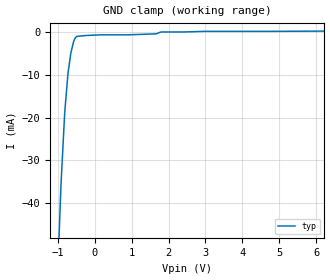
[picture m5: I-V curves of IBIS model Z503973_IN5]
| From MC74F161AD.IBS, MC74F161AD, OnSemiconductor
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| (C) COPYRIGHT 1993-2000
| MENTOR GRAPHICS CORPORATION
| ICX STANDARD LIBRARY, ICX PROJECT MODELING,
| ICX CUSTOM MODELING, ICX VENDOR MODEL
| ALL RIGHTS RESERVED.
| THE FOLLOWING ARE TRADEMARKS OR SERVICE MARKS OF
| MENTOR GRAPHICS CORPORATION:ICX (R), ICX STANDARD
| LIBRARY(R), ICX PROJECT MODELING(R), ICX CUSTOM
| MODELING(R), qualityIBIS(TM), MODELVIEWER(TM),
| AND MODELEDITOR(TM)
| ALL COPIES OF SOFTWARE, INCLUDING BUT NOT LIMITED TO
| ANY MODIFICATIONS, ENHANCEMENTS OR DERIVATIVE WORKS,
| MUST CONTAIN ALL MENTOR GRAPHICS CORPORATION'S
| NOTICES AND LEGENDS, INCLUDING THOSE EMBEDDED IN
| SOFTWARE AND THOSE AFFIXED TO SOFTWARE MEDIUM
| AND CONTAINER, AS RECEIVED FROM MENTOR GRAPHICS
| CORPORATION.
| Model Application Version 1.89 2/18/99.
[Model] Z503973_IN5
Model_type Input
Vinl = 800.0mV
Vinh = 2.000V
C_comp 4.000pF NA NA
| variable typ   min   max
[Voltage Range] 5.000V NA NA
[GND Clamp Reference] 0.000V NA NA
[POWER Clamp Reference] 5.000V NA NA
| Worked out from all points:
|   GND clamp passes 1 mA (typ) near -0.50 V on its own axis
[GND Clamp]
-5V       -1.948A    NA         NA
-1.006V   -58.27mA   NA         NA
-910.5mV  -35.78mA   NA         NA
-809.8mV  -18.86mA   NA         NA
-721.9mV  -9.664mA   NA         NA
-644mV    -4.85mA    NA         NA
-568mV    -2.126mA   NA         NA
-531.4mV  -1.361mA   NA         NA
-487.9mV  -926.5uA   NA         NA
1.665V    -318.3uA   NA         NA
1.826V    120.3uA    NA         NA
10V       464.2uA    NA         NA
[POWER Clamp]
-5V       0A         NA         NA
10V       0A         NA         NA
